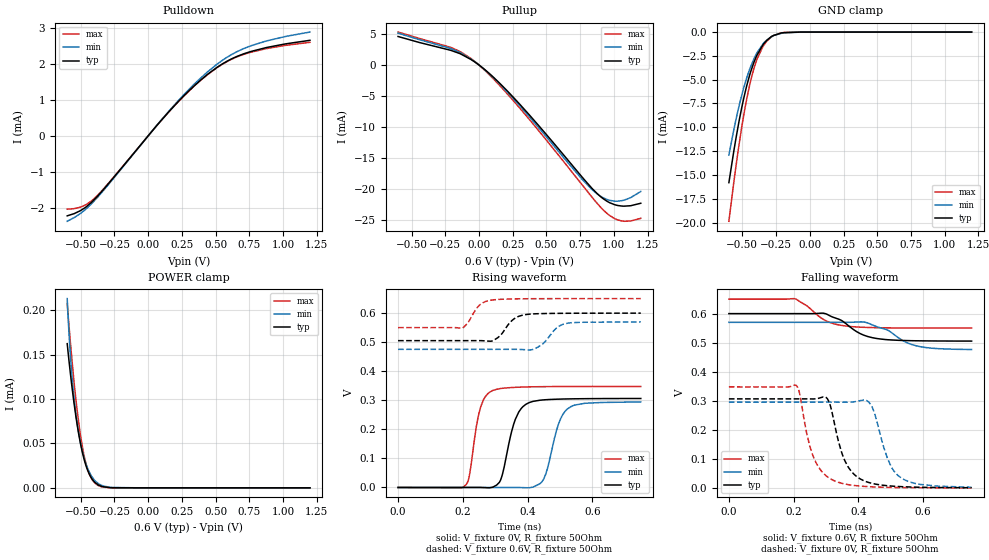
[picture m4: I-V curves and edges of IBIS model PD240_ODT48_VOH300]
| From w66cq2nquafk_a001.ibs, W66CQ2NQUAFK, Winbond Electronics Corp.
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[Model]   PD240_ODT48_VOH300
Model_type   I/O
Polarity   Non-Inverting
Enable   Active-Low
Vinl = 0.08
Vinh = 0.22
Vmeas = 0.15
Vref = 0
Cref = 0pF
Rref = 48
|   typ   min   max
C_comp   0.85pF   0.80pF   0.90pF
[Voltage Range]   0.6   0.57   0.65
[Temperature Range]   25   105   -40
[Pullup Reference]   0.6   0.57   0.65
[Pulldown Reference]   0   0   0
[Power Clamp Reference]   0.6   0.57   0.65
[GND Clamp Reference]   0   0   0
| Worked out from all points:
|   slope of the pulldown table from 0 to 0.09 V, typ, clamps not added: 224 ohm
|   slope of the pullup table from 0 to 0.09 V, typ, clamps not added: 55 ohm
|   GND clamp passes 1 mA (typ) near -0.33 V on its own axis
|   falling waveform, V_fixture 0.6V, R_fixture 50Ohm: 20-80 % time 81.7ps typ, 94.4ps min, 74.2ps max; typ from 0.6 V to 0.505 V
|   rising waveform, V_fixture 0V, R_fixture 50Ohm: 20-80 % time 40.8ps typ, 42.1ps min, 31.3ps max; typ from 0 V to 0.306 V
|   rising waveform, V_fixture 0.6V, R_fixture 50Ohm: 20-80 % time 42.3ps typ, 45.4ps min, 36.9ps max; typ from 0.505 V to 0.6 V
|   falling waveform, V_fixture 0V, R_fixture 50Ohm: 20-80 % time 53.6ps typ, 52.8ps min, 52.2ps max; typ from 0.306 V to 0 V
[Pulldown]
|   Voltage   I(typ)   I(min)   I(max)
-600mV    -2.227mA   -2.378mA   -2.041mA
-546.4mV  -2.162mA   -2.272mA   -2.025mA
-468.3mV  -2.001mA   -2.06mA    -1.93mA
-415.9mV  -1.837mA   -1.875mA   -1.799mA
-371.2mV  -1.664mA   -1.694mA   -1.641mA
163.2mV   712.1uA    728.1uA    710.6uA
346.8mV   1.412mA    1.459mA    1.406mA
507.6mV   1.9mA      1.987mA    1.892mA
622.1mV   2.152mA    2.273mA    2.142mA
762.3mV   2.352mA    2.511mA    2.332mA
1.013V    2.559mA    2.765mA    2.518mA
1.2V      2.663mA    2.893mA    2.607mA
[GND Clamp]
|   Voltage   I(typ)   I(min)   I(max)
-600mV    -15.82mA   -12.92mA   -19.87mA
-548.7mV  -11.26mA   -9.274mA   -14.21mA
-502.5mV  -7.793mA   -6.517mA   -9.787mA
-477.6mV  -6.215mA   -5.269mA   -7.747mA
-437.5mV  -4.131mA   -3.601mA   -5.046mA
-392mV    -2.443mA   -2.189mA   -2.872mA
-348.4mV  -1.364mA   -1.28mA    -1.54mA
-320.5mV  -891uA     -866.7uA   -976.7uA
-284.4mV  -467.9uA   -497.2uA   -512.5uA
-202.9mV  -81.17uA   -111.3uA   -68.57uA
-59.4mV   -1.311uA   -4.081uA   -397.2nA
1.2V      0A         0A         0A
[Pullup]
|   Voltage   I(typ)   I(min)   I(max)
-600mV    4.593mA    5.132mA    5.311mA
-203.4mV  2.317mA    2.587mA    2.783mA
-134.6mV  1.763mA    1.926mA    2.096mA
1.9mV     -33.73uA   -34.32uA   -36.43uA
130.6mV   -2.463mA   -2.571mA   -2.775mA
280.7mV   -5.821mA   -6.046mA   -6.406mA
762.3mV   -18.02mA   -18.38mA   -19.27mA
892.3mV   -21.07mA   -21.05mA   -22.72mA
969.8mV   -22.23mA   -21.85mA   -24.31mA
1.028V    -22.67mA   -21.98mA   -25mA
1.124V    -22.72mA   -21.42mA   -25.18mA
1.2V      -22.32mA   -20.42mA   -24.74mA
[POWER Clamp]
|   Voltage   I(typ)   I(min)   I(max)
-600mV    162.4uA    213.1uA    207.7uA
-584mV    139.3uA    166.9uA    177.5uA
-568.6mV  118.7uA    133uA      150.4uA
-545.8mV  91.46uA    96.09uA    114.1uA
-519.6mV  64.95uA    66.2uA     79.58uA
-502.5mV  50.6uA     51.7uA     59.71uA
-477.8mV  33.95uA    35.68uA    38.11uA
-458.3mV  23.83uA    26.09uA    25.58uA
-414.8mV  9.729uA    12.03uA    9.145uA
-366.3mV  3.015uA    4.371uA    2.353uA
-267.1mV  139.4nA    386.2nA    23.15nA
1.2V      0A         0A         0A
[Ramp]
R_load = 50
|   typ   min   max
dV/dt_r 1.8378E-01/4.0320E-11   1.7666E-01/4.1948E-11   2.0862E-01/3.1058E-11
dV/dt_f 5.6757E-02/8.1283E-11   5.6189E-02/9.4399E-11   5.9870E-02/7.3847E-11
[Falling Waveform]
V_fixture = 0.6V
V_fixture_min = 0.57V
V_fixture_max = 0.65V
R_fixture = 50Ohm
C_fixture = 0F
|   Time   V(typ)   V(min)   V(max)
0s        600mV      570mV      650mV
204ps     600mV      570mV      651.3mV
240ps     600mV      570mV      627.6mV
292ps     601.4mV    570mV      580.2mV
346ps     577.7mV    570mV      559.9mV
417ps     525.7mV    571.2mV    552.8mV
489ps     510.2mV    544mV      551mV
537ps     507.5mV    507.5mV    550.6mV
579ps     506.5mV    489.1mV    550.4mV
750ps     505.4mV    476.4mV    550.2mV
[Rising Waveform]
V_fixture = 0V
V_fixture_min = 0V
V_fixture_max = 0V
R_fixture = 50Ohm
C_fixture = 0F
|   Time   V(typ)   V(min)   V(max)
0s        8.405uV    38.15uV    1.644uV
210ps     7.878uV    38.16uV    9.372mV
254ps     11.89uV    38.21uV    272.2mV
292ps     942.4uV    37.41uV    333.5mV
317ps     26.03mV    42.15uV    340.5mV
357ps     216.8mV    70.83uV    344.3mV
395ps     286.3mV    -833.2uV   345.9mV
450ps     301.5mV    28.92mV    347mV
523ps     304.7mV    269.9mV    347.5mV
750ps     306.3mV    294.5mV    347.7mV
[Rising Waveform]
V_fixture = 0.6V
V_fixture_min = 0.57V
V_fixture_max = 0.65V
R_fixture = 50Ohm
C_fixture = 0F
|   Time   V(typ)   V(min)   V(max)
0s        505.3mV    475.4mV    550.2mV
199ps     505.3mV    475.4mV    548.8mV
250ps     505.4mV    475.4mV    625.9mV
292ps     504.7mV    475.4mV    645.4mV
357ps     579.2mV    475.5mV    648.9mV
386ps     593.4mV    474.6mV    649.4mV
432ps     598mV      483mV      649.7mV
489ps     599.2mV    548mV      649.9mV
516ps     599.4mV    563.6mV    649.9mV
750ps     600mV      569.8mV    650mV
[Falling Waveform]
|Gnd
V_fixture = 0V
V_fixture_min = 0V
V_fixture_max = 0V
R_fixture = 50Ohm
C_fixture = 0F
|   Time   V(typ)   V(min)   V(max)
0s        306.4mV    295.2mV    347.7mV
208ps     306.4mV    295.2mV    353mV
259ps     306.1mV    295.2mV    112.8mV
300ps     311.6mV    295.2mV    41.78mV
322ps     243.4mV    295.2mV    26.15mV
357ps     96.63mV    295mV      13.62mV
406ps     30.58mV    300.5mV    6.03mV
442ps     15.37mV    279.4mV    3.399mV
523ps     4.667mV    41.83mV    998.7uV
750ps     285uV      2.006mV    -5.81uV
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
